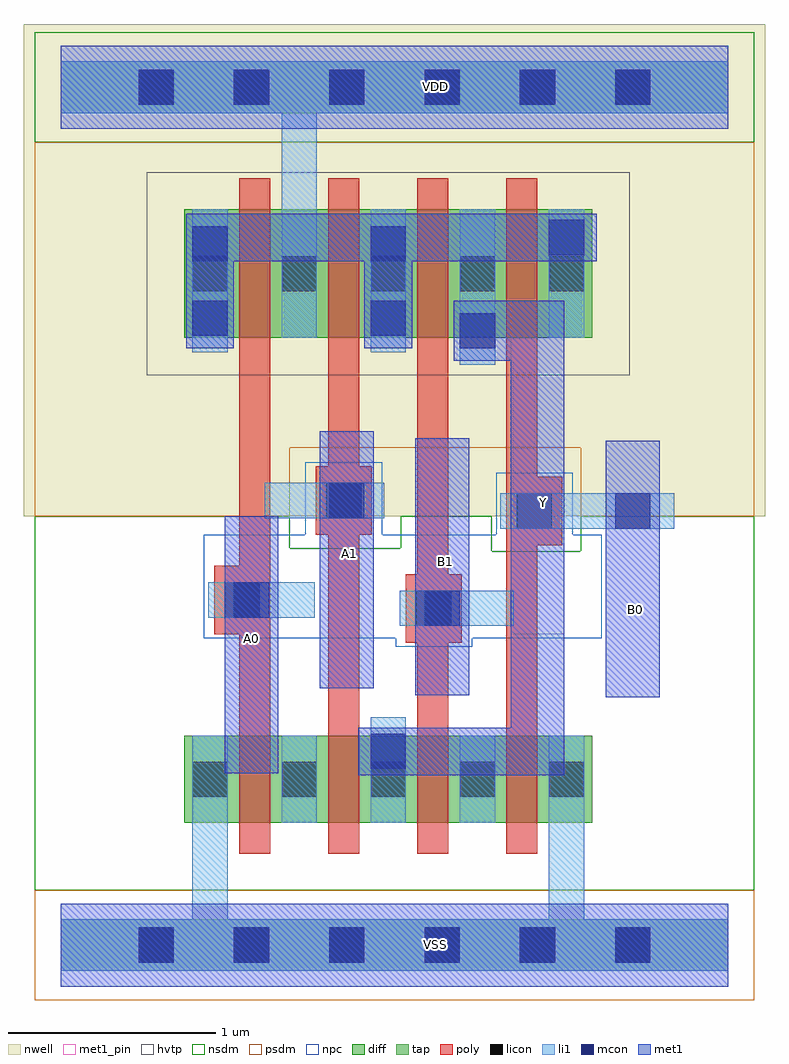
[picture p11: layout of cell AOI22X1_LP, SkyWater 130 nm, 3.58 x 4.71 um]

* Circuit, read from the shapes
.subckt AOI22X1_LP A0 A1 B0 B1 VDD VSS Y
XM1 n1 A0 VSS VSS sky130_fd_pr__nfet_01v8 w=0.42 l=0.15
XM2 Y A1 n1 VSS sky130_fd_pr__nfet_01v8 w=0.42 l=0.15
XM3 n2 B1 Y VSS sky130_fd_pr__nfet_01v8 w=0.42 l=0.15
XM4 VSS B0 n2 VSS sky130_fd_pr__nfet_01v8 w=0.42 l=0.15
XM5 VDD A0 n3 VDD sky130_fd_pr__pfet_01v8_hvt w=0.62 l=0.15
XM6 n3 A1 VDD VDD sky130_fd_pr__pfet_01v8_hvt w=0.62 l=0.15
XM7 Y B1 n3 VDD sky130_fd_pr__pfet_01v8_hvt w=0.62 l=0.15
XM8 n3 B0 Y VDD sky130_fd_pr__pfet_01v8_hvt w=0.62 l=0.15
.ends

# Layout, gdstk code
import gdstk
lib = gdstk.Library(unit=1e-6, precision=1e-09)
def R(c, l, rs):  # rectangles x0, y0, x1, y1
    for r in rs: c.add(gdstk.rectangle(r[:2], r[2:], *l))
def A(c, l, x, y, w, h, nx, ny, dx, dy):  # array of equal rectangles
    R(c, l, [(x+i*dx, y+j*dy, x+i*dx+w, y+j*dy+h) for i in range(nx) for j in range(ny)])
def P(c, l, *ps):  # polygons
    for p in ps: c.add(gdstk.Polygon(p, *l))
nwell = (64, 20)
diff = (65, 20)
tap = (65, 44)
poly = (66, 20)
licon = (66, 44)
li1 = (67, 20)
mcon = (67, 44)
met1_pin = (68, 16)
met1 = (68, 20)
hvtp = (78, 44)
nsdm = (93, 44)
psdm = (94, 20)
npc = (95, 20)

l1m1_c_cdns_795853916197 = lib.new_cell('L1M1_C_CDNS_795853916197')
R(l1m1_c_cdns_795853916197, li1, [(-0.085,-0.165,0.085,0.165)])
R(l1m1_c_cdns_795853916197, mcon, [(-0.085,-0.085,0.085,0.085)])
R(l1m1_c_cdns_795853916197, met1, [(-0.115,-0.145,0.115,0.145)])

l1m1_c_cdns_795853916198 = lib.new_cell('L1M1_C_CDNS_795853916198')
R(l1m1_c_cdns_795853916198, li1, [(-0.085,-0.165,0.085,0.165)])
R(l1m1_c_cdns_795853916198, mcon, [(-0.085,-0.085,0.085,0.085)])
R(l1m1_c_cdns_795853916198, met1, [(-0.145,-0.115,0.145,0.115)])

licondiff_c_cdns_7958539 = lib.new_cell('LICONDIFF_C_CDNS_795853916196')
R(licondiff_c_cdns_7958539, diff, [(-0.125,-0.145,0.125,0.145)])
R(licondiff_c_cdns_7958539, licon, [(-0.085,-0.085,0.085,0.085), (-0.085,-0.085,0.085,0.085)])

pyl1con_c_cdns_795853916 = lib.new_cell('PYL1CON_C_CDNS_795853916195')
R(pyl1con_c_cdns_795853916, poly, [(-0.135,-0.165,0.135,0.165)])
R(pyl1con_c_cdns_795853916, licon, [(-0.085,-0.085,0.085,0.085)])
R(pyl1con_c_cdns_795853916, npc, [(-0.185,-0.185,0.185,0.185)])

l1m1_c_cdns_795853916191 = lib.new_cell('L1M1_C_CDNS_7958539161914')
R(l1m1_c_cdns_795853916191, li1, [(-0.085,-0.085,0.085,0.085)])
R(l1m1_c_cdns_795853916191, mcon, [(-0.085,-0.085,0.085,0.085)])
R(l1m1_c_cdns_795853916191, met1, [(-0.145,-0.115,0.145,0.115)])

l1m1_c_cdns_795853916194 = lib.new_cell('L1M1_C_CDNS_795853916194')
R(l1m1_c_cdns_795853916194, li1, [(-0.165,-0.085,0.165,0.085)])
R(l1m1_c_cdns_795853916194, mcon, [(-0.085,-0.085,0.085,0.085)])
R(l1m1_c_cdns_795853916194, met1, [(-0.115,-0.145,0.115,0.145)])

l1m1_c_cdns_795853916199 = lib.new_cell('L1M1_C_CDNS_795853916199')
R(l1m1_c_cdns_795853916199, li1, [(-0.085,-0.345,0.085,0.345)])
R(l1m1_c_cdns_795853916199, mcon, [(-0.085,-0.265,0.085,-0.095), (-0.085,0.095,0.085,0.265)])
R(l1m1_c_cdns_795853916199, met1, [(-0.115,-0.325,0.115,0.325)])

aoi22x1_lp = lib.new_cell('AOI22X1_LP')
R(aoi22x1_lp, nwell, [(-0.18,2.07,3.4,4.445)])
R(aoi22x1_lp, diff, [(0.595,0.59,2.565,1.01), (0.595,2.93,2.565,3.55)])
A(aoi22x1_lp, poly, 0.86, 0.44, 0.15, 3.26, 4, 1, 0.43, 0)
A(aoi22x1_lp, licon, 0.375, -0.085, 0.17, 0.17, 6, 2, 0.46, 4.14)
A(aoi22x1_lp, licon, 0.635, 0.715, 0.17, 0.17, 3, 1, 0.86, 0)
A(aoi22x1_lp, licon, 0.635, 3.155, 0.17, 0.17, 5, 1, 0.43, 0)
A(aoi22x1_lp, li1, 1.495, 2.93, 0.17, 0.62, 3, 1, 0.43, 0)
R(aoi22x1_lp, li1, [(1.495,0.59,1.665,1.01), (0.635,2.93,0.805,3.55)])
P(aoi22x1_lp, li1, [(1.065,2.93),(1.065,4.015),(0,4.015),(0,4.265),(3.22,4.265),(3.22,4.015),(1.235,4.015),(1.235,2.93)],
  [(0,-0.125),(0,0.125),(0.635,0.125),(0.635,1.01),(0.805,1.01),(0.805,0.125),(2.355,0.125),(2.355,1.01),(2.525,1.01),(2.525,0.125),(3.22,0.125),(3.22,-0.125)])
A(aoi22x1_lp, mcon, 0.375, -0.085, 0.17, 0.17, 6, 2, 0.46, 4.14)
R(aoi22x1_lp, met1_pin, [(0.79,0.83,1.05,2.07), (2.63,1.195,2.89,2.435), (1.71,1.205,1.97,2.445), (1.25,1.24,1.51,2.48), (2.17,1.5,2.43,3.11)])
P(aoi22x1_lp, met1, [(1.58,0.82),(1.58,1.05),(2.17,1.05),(2.17,2.82),(1.895,2.82),(1.895,3.11),(2.43,3.11),(2.43,0.82)])
R(aoi22x1_lp, hvtp, [(0.415,2.75,2.745,3.73)])
R(aoi22x1_lp, nsdm, [(-0.125,3.875,3.345,4.405)])
P(aoi22x1_lp, nsdm, [(-0.125,0.265),(-0.125,2.07),(1.105,2.07),(1.105,1.915),(1.64,1.915),(1.64,2.07),(2.08,2.07),(2.08,1.9),(2.51,1.9),(2.51,2.07),(3.345,2.07),(3.345,0.265)])
R(aoi22x1_lp, psdm, [(-0.125,-0.265,3.345,0.265)])
P(aoi22x1_lp, psdm, [(-0.125,2.07),(-0.125,3.875),(3.345,3.875),(3.345,2.07),(2.51,2.07),(2.51,2.4),(1.105,2.4),(1.105,2.07)])
R(aoi22x1_lp, npc, [(0.69,1.48,2.61,1.98)])
aoi22x1_lp.add(gdstk.FlexPath([(0,4.14),(3.22,4.14)], 0.4, ends="flush", simple_path=True, layer=68, datatype=20))  # met1
aoi22x1_lp.add(gdstk.FlexPath([(0,0),(3.22,0)], 0.4, ends="flush", simple_path=True, layer=68, datatype=20))  # met1
aoi22x1_lp.add(gdstk.FlexPath([(2.76,2.435),(2.76,1.195)], 0.26, ends="flush", simple_path=True, layer=68, datatype=20))  # met1
aoi22x1_lp.add(gdstk.FlexPath([(1.84,2.445),(1.84,1.205)], 0.26, ends="flush", simple_path=True, layer=68, datatype=20))  # met1
aoi22x1_lp.add(gdstk.FlexPath([(1.38,2.48),(1.38,1.24)], 0.26, ends="flush", simple_path=True, layer=68, datatype=20))  # met1
aoi22x1_lp.add(gdstk.FlexPath([(0.92,2.07),(0.92,0.83)], 0.26, ends="flush", simple_path=True, layer=68, datatype=20))  # met1
aoi22x1_lp.add(gdstk.FlexPath([(2.44,3.415),(0.72,3.415)], 0.23, ends=(0, 0.115), simple_path=True, layer=68, datatype=20))  # met1
aoi22x1_lp.add(gdstk.FlexPath([(0.985,2.145),(1.56,2.145)], 0.17, ends="flush", simple_path=True, layer=67, datatype=20))  # li1
aoi22x1_lp.add(gdstk.FlexPath([(1.635,1.625),(2.185,1.625)], 0.17, ends="flush", simple_path=True, layer=67, datatype=20))  # li1
aoi22x1_lp.add(gdstk.FlexPath([(2.96,2.095),(2.12,2.095)], 0.17, ends="flush", simple_path=True, layer=67, datatype=20))  # li1
aoi22x1_lp.add(gdstk.FlexPath([(0.71,1.665),(1.225,1.665)], 0.17, ends="flush", simple_path=True, layer=67, datatype=20))  # li1
aoi22x1_lp.add(gdstk.FlexPath([(2.01,0.59),(2.01,1.01)], 0.17, ends="flush", simple_path=True, layer=67, datatype=20))  # li1
aoi22x1_lp.add(gdstk.FlexPath([(1.15,0.59),(1.15,1.01)], 0.17, ends="flush", simple_path=True, layer=67, datatype=20))  # li1
aoi22x1_lp.add(gdstk.FlexPath([(0,4.14),(3.22,4.14)], 0.25, ends="flush", simple_path=True, layer=65, datatype=44))  # tap
aoi22x1_lp.add(gdstk.FlexPath([(0,0),(3.22,0)], 0.25, ends="flush", simple_path=True, layer=65, datatype=44))  # tap
aoi22x1_lp.add(gdstk.FlexPath([(0,4.14),(3.22,4.14)], 0.4, ends="flush", simple_path=True, layer=68, datatype=16))  # met1_pin
aoi22x1_lp.add(gdstk.FlexPath([(0,0),(3.22,0)], 0.4, ends="flush", simple_path=True, layer=68, datatype=16))  # met1_pin
aoi22x1_lp.add(gdstk.Reference(l1m1_c_cdns_795853916197, (2.01,2.965)))
aoi22x1_lp.add(gdstk.Reference(l1m1_c_cdns_795853916198, (1.58,0.935)))
aoi22x1_lp.add(gdstk.Reference(licondiff_c_cdns_7958539, (2.01,0.8)))
aoi22x1_lp.add(gdstk.Reference(licondiff_c_cdns_7958539, (1.15,0.8)))
aoi22x1_lp.add(gdstk.Reference(pyl1con_c_cdns_795853916, (1.8,1.625)))
aoi22x1_lp.add(gdstk.Reference(pyl1con_c_cdns_795853916, (2.285,2.095)))
aoi22x1_lp.add(gdstk.Reference(pyl1con_c_cdns_795853916, (1.365,2.145)))
aoi22x1_lp.add(gdstk.Reference(pyl1con_c_cdns_795853916, (0.875,1.665)))
aoi22x1_lp.add(gdstk.Reference(l1m1_c_cdns_795853916191, (2.44,3.415)))
aoi22x1_lp.add(gdstk.Reference(l1m1_c_cdns_795853916194, (1.84,1.625)))
aoi22x1_lp.add(gdstk.Reference(l1m1_c_cdns_795853916194, (2.76,2.095)))
aoi22x1_lp.add(gdstk.Reference(l1m1_c_cdns_795853916194, (1.38,2.145)))
aoi22x1_lp.add(gdstk.Reference(l1m1_c_cdns_795853916194, (0.92,1.665)))
aoi22x1_lp.add(gdstk.Reference(l1m1_c_cdns_795853916199, (1.58,3.205)))
aoi22x1_lp.add(gdstk.Reference(l1m1_c_cdns_795853916199, (0.72,3.205)))
aoi22x1_lp.add(gdstk.Label('VDD', (1.81,4.145), layer=68, texttype=5))
aoi22x1_lp.add(gdstk.Label('Y', (2.33,2.135), layer=68, texttype=5))
aoi22x1_lp.add(gdstk.Label('A1', (1.395,1.89), layer=68, texttype=5))
aoi22x1_lp.add(gdstk.Label('A0', (0.92,1.48), layer=68, texttype=5))
aoi22x1_lp.add(gdstk.Label('B1', (1.855,1.85), layer=68, texttype=5))
aoi22x1_lp.add(gdstk.Label('B0', (2.775,1.62), layer=68, texttype=5))
aoi22x1_lp.add(gdstk.Label('VSS', (1.81,0.005), layer=68, texttype=5))

lib.write_gds('AOI22X1_LP.gds')
